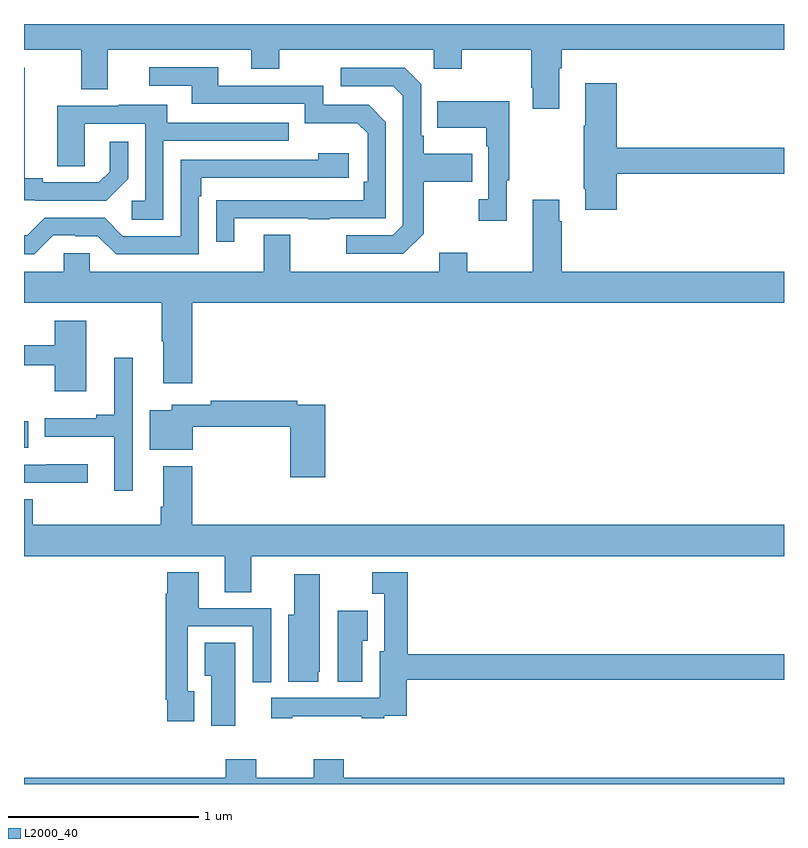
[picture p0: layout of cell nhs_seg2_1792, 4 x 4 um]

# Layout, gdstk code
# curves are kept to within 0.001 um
import gdstk
lib = gdstk.Library(unit=1e-6, precision=1e-09)
def R(c, l, rs):  # rectangles x0, y0, x1, y1
    for r in rs: c.add(gdstk.rectangle(r[:2], r[2:], *l))
def P(c, l, *ps):  # polygons
    for p in ps: c.add(gdstk.Polygon(p, *l))
L2000_40 = (2000, 40)

nhs_seg2_1792 = lib.new_cell('nhs_seg2_1792')
R(nhs_seg2_1792, L2000_40, [(205,617.57,205.023,617.71)])
P(nhs_seg2_1792, L2000_40, [(207.817,619.568),(207.83,619.568),(207.83,619.664),(209,619.664),(209,619.8),(205,619.8),(205,619.664),(205.301,619.664),(205.301,619.456),(205.441,619.456),(205.441,619.664),(206.195,619.664),(206.195,619.565),(206.343,619.565),(206.343,619.664),(207.156,619.664),(207.156,619.565),(207.303,619.565),(207.303,619.664),(207.67,619.664),(207.67,619.465),(207.677,619.465),(207.677,619.353),(207.817,619.353)],
  [(206.107,618.777),(206.497,618.777),(206.497,618.772),(206.609,618.772),(206.609,618.777),(206.904,618.777),(206.904,619.284),(206.814,619.374),(206.574,619.374),(206.574,619.476),(206.023,619.476),(206.023,619.572),(205.659,619.572),(205.659,619.476),(205.883,619.476),(205.883,619.38),(206.478,619.38),(206.478,619.277),(206.755,619.277),(206.808,619.224),(206.808,618.97),(206.788,618.97),(206.788,618.873),(206.011,618.872),(206.011,618.654),(206.107,618.654)],
  [(207.103,618.697),(207.103,618.97),(207.359,618.97),(207.359,619.117),(207.103,619.117),(207.103,619.213),(207.09,619.213),(207.09,619.482),(207.003,619.569),(206.667,619.569),(206.667,619.473),(206.943,619.473),(206.994,619.422),(206.994,618.741),(206.94,618.687),(206.697,618.687),(206.697,618.591),(206.997,618.591)],
  [(205.548,618.986),(205.548,619.18),(205.451,619.18),(205.451,619.023),(205.394,618.966),(205.099,618.966),(205.099,618.989),(205.003,618.989),(205.003,619.569),(205,619.569),(205,618.873),(205.06,618.873),(205.06,618.87),(205.432,618.87)],
  [(208.121,619.012),(209,619.012),(209,619.148),(208.121,619.148),(208.121,619.489),(207.953,619.489),(207.953,619.265),(207.946,619.265),(207.946,618.934),(207.953,618.934),(207.953,618.822),(208.121,618.822)],
  [(207.541,618.977),(207.553,618.977),(207.553,619.393),(207.175,619.393),(207.175,619.253),(207.432,619.253),(207.432,619.157),(207.444,619.157),(207.444,618.878),(207.393,618.878),(207.393,618.765),(207.541,618.765)],
  [(205.734,619.185),(206.393,619.185),(206.393,619.281),(205.753,619.281),(205.753,619.375),(205.499,619.375),(205.499,619.371),(205.175,619.371),(205.175,619.051),(205.32,619.051),(205.32,619.275),(205.638,619.275),(205.638,618.87),(205.566,618.87),(205.566,618.769),(205.734,618.769)],
  [(205.155,618.687),(205.271,618.687),(205.271,618.684),(205.389,618.684),(205.485,618.588),(205.92,618.588),(205.92,618.893),(205.933,618.893),(205.933,618.99),(206.71,618.99),(206.71,619.12),(206.549,619.12),(206.549,619.086),(205.824,619.086),(205.824,618.684),(205.521,618.684),(205.425,618.78),(205.11,618.78),(205.017,618.687),(205,618.687),(205,618.587),(205.055,618.587)],
  [(205.886,618.332),(209,618.332),(209,618.496),(207.83,618.496),(207.83,618.761),(207.817,618.761),(207.817,618.874),(207.677,618.874),(207.677,618.496),(207.333,618.496),(207.333,618.595),(207.185,618.595),(207.185,618.496),(206.401,618.496),(206.401,618.691),(206.261,618.691),(206.261,618.496),(205.347,618.496),(205.347,618.594),(205.209,618.594),(205.209,618.496),(205,618.496),(205,618.332),(205.726,618.332),(205.726,618.13),(205.733,618.13),(205.733,617.91),(205.886,617.91)],
  [(205.327,618.238),(205.162,618.238),(205.162,618.108),(205,618.108),(205,618.004),(205.162,618.004),(205.162,617.868),(205.327,617.868)],
  [(205.572,617.821),(205.573,617.821),(205.573,618.043),(205.475,618.043),(205.475,617.744),(205.379,617.744),(205.379,617.725),(205.108,617.725),(205.108,617.627),(205.475,617.627),(205.475,617.343),(205.572,617.343)],
  [(206.585,617.796),(206.438,617.796),(206.438,617.816),(205.984,617.816),(205.984,617.796),(205.778,617.796),(205.778,617.767),(205.661,617.767),(205.661,617.558),(205.888,617.558),(205.888,617.68),(206.402,617.68),(206.402,617.415),(206.585,617.415)],
  [(205.336,617.482),(205.116,617.482),(205.116,617.481),(205,617.481),(205,617.385),(205.336,617.385)],
  [(205,617.3),(205,617),(206.057,617),(206.057,616.81),(206.197,616.81),(206.197,617),(209,617),(209,617.164),(205.886,617.164),(205.886,617.473),(205.733,617.473),(205.733,617.26),(205.721,617.26),(205.721,617.164),(205.046,617.164),(205.046,617.3)],
  [(206.413,616.156),(206.777,616.156),(206.777,616.146),(206.897,616.146),(206.897,616.158),(207.014,616.158),(207.014,616.348),(209,616.348),(209,616.484),(207.019,616.484),(207.019,616.915),(206.832,616.915),(206.832,616.802),(206.897,616.802),(206.897,616.5),(206.873,616.5),(206.873,616.254),(206.301,616.254),(206.301,616.146),(206.413,616.146)],
  [(205.897,616.287),(205.863,616.287),(205.863,616.629),(206.205,616.629),(206.205,616.335),(206.301,616.335),(206.301,616.725),(205.921,616.725),(205.921,616.915),(205.754,616.915),(205.754,616.802),(205.747,616.802),(205.747,616.243),(205.755,616.243),(205.755,616.131),(205.897,616.131)],
  [(206.548,616.392),(206.557,616.392),(206.557,616.903),(206.423,616.903),(206.423,616.69),(206.39,616.69),(206.39,616.339),(206.548,616.339)],
  [(206.779,616.555),(206.809,616.555),(206.809,616.711),(206.651,616.711),(206.651,616.339),(206.779,616.339)],
  [(206.113,616.544),(205.952,616.544),(205.952,616.37),(205.985,616.37),(205.985,616.107),(206.113,616.107)],
  [(209,615.832),(206.684,615.832),(206.684,615.931),(206.524,615.931),(206.524,615.832),(206.223,615.832),(206.223,615.931),(206.063,615.931),(206.063,615.832),(205,615.832),(205,615.8),(209,615.8)])

lib.write_gds('nhs_seg2_1792.gds')
